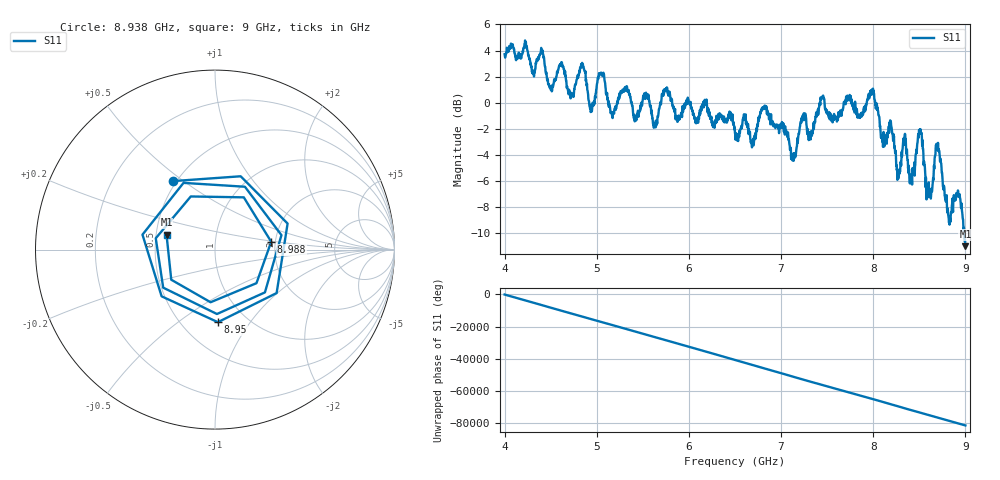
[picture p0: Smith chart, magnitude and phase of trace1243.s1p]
! Created with skrf 1.8.0 (http://scikit-rf.org).
# Hz S RI R 50.0
!freq ReS11 ImS11
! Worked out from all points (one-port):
!   1601 points, 4 GHz to 9 GHz, reference 50 ohm
!   lowest |S11| = -11.0 dB at 9 GHz (marker M1), VSWR 1.79, Z = 28.4 + j5.12 ohm
!   |S11| at or under -10 dB: 8.987997 GHz to end of sweep
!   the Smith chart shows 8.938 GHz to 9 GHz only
!   S11 on the Smith chart (normalised r, x): 8.938 GHz: 0.48, +0.46; 8.95 GHz: 0.74, -0.71; 8.988 GHz: 1.90, +0.18; 9 GHz: 0.57, +0.10
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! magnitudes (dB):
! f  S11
! 4 GHz  3.7
! 4.403 GHz  4.0
! 4.503 GHz  1.0
! 4.625 GHz  2.8
! 4.728 GHz  0.5
! 4.853 GHz  2.7
! 4.944 GHz  -0.5
! 5.047 GHz  2.3
! 5.162 GHz  -0.7
! 5.25 GHz  0.6
! 5.875 GHz  -1.5
! 6.5 GHz  -2.3
! 6.697 GHz  -2.8
! 6.816 GHz  -0.4
! 7.125 GHz  -4.4
! 7.441 GHz  0.4
! 7.75 GHz  0.5
! 7.991 GHz  1.0
! 8.272 GHz  -5.8
! 8.375 GHz  -4.4
! 8.509 GHz  -2.3
! 8.6 GHz  -6.3
! 8.697 GHz  -3.3
! 8.825 GHz  -9.0
! 8.938 GHz  -7.0
! 8.95 GHz  -7.9
! 8.988 GHz  -10.0
! 9 GHz  -11.0
